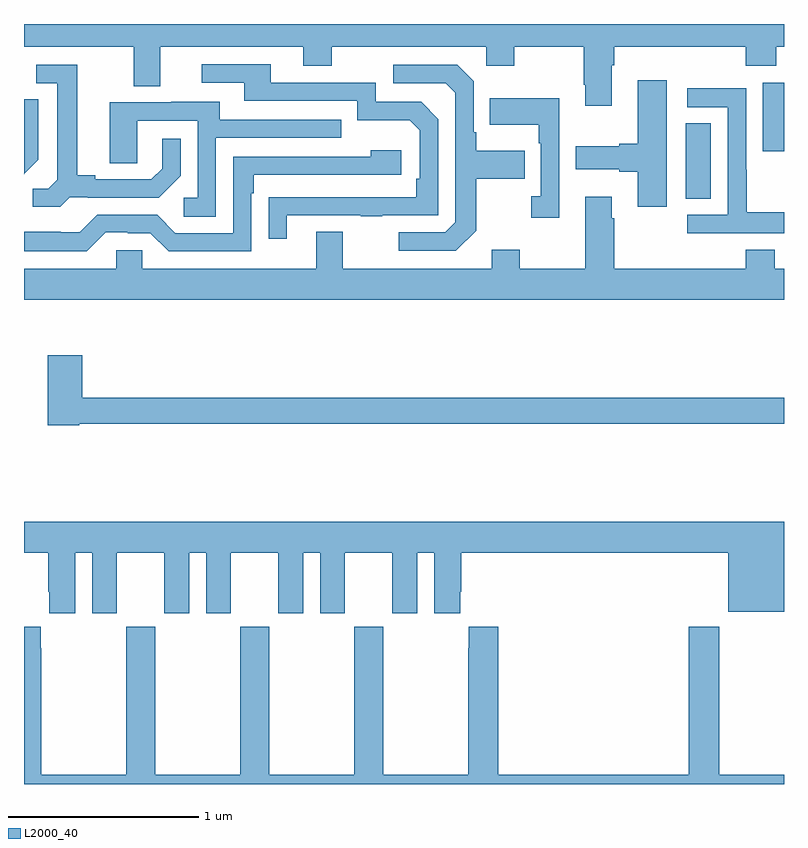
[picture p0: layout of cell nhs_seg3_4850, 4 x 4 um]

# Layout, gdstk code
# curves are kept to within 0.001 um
import gdstk
lib = gdstk.Library(unit=1e-6, precision=1e-09)
def R(c, l, rs):  # rectangles x0, y0, x1, y1
    for r in rs: c.add(gdstk.rectangle(r[:2], r[2:], *l))
def P(c, l, *ps):  # polygons
    for p in ps: c.add(gdstk.Polygon(p, *l))
L2000_40 = (2000, 40)

nhs_seg3_4850 = lib.new_cell('nhs_seg3_4850')
R(nhs_seg3_4850, L2000_40, [(376.484,669.481,376.615,669.878), (376.889,669.729,377,670.09)])
P(nhs_seg3_4850, L2000_40, [(376.093,670.184),(376.106,670.184),(376.106,670.28),(376.799,670.28),(376.799,670.181),(376.959,670.181),(376.959,670.28),(377,670.28),(377,670.4),(373,670.4),(373,670.28),(373.577,670.28),(373.577,670.072),(373.717,670.072),(373.717,670.28),(374.471,670.28),(374.471,670.181),(374.619,670.181),(374.619,670.28),(375.432,670.28),(375.432,670.181),(375.579,670.181),(375.579,670.28),(375.946,670.28),(375.946,670.081),(375.953,670.081),(375.953,669.969),(376.093,669.969)],
  [(374.383,669.393),(374.773,669.393),(374.773,669.388),(374.885,669.388),(374.885,669.393),(375.18,669.393),(375.18,669.9),(375.09,669.99),(374.85,669.99),(374.85,670.092),(374.299,670.092),(374.299,670.188),(373.935,670.188),(373.935,670.092),(374.159,670.092),(374.159,669.996),(374.754,669.996),(374.754,669.893),(375.031,669.893),(375.084,669.84),(375.084,669.586),(375.064,669.586),(375.064,669.489),(374.287,669.488),(374.287,669.27),(374.383,669.27)],
  [(373.242,669.489),(373.336,669.489),(373.336,669.486),(373.708,669.486),(373.824,669.602),(373.824,669.796),(373.727,669.796),(373.727,669.639),(373.67,669.582),(373.375,669.582),(373.375,669.605),(373.279,669.605),(373.279,670.185),(373.065,670.185),(373.065,670.089),(373.175,670.089),(373.175,669.581),(373.128,669.534),(373.047,669.534),(373.047,669.437),(373.19,669.437)],
  [(375.379,669.313),(375.379,669.586),(375.635,669.586),(375.635,669.733),(375.379,669.733),(375.379,669.829),(375.366,669.829),(375.366,670.098),(375.279,670.185),(374.943,670.185),(374.943,670.089),(375.219,670.089),(375.27,670.038),(375.27,669.357),(375.216,669.303),(374.973,669.303),(374.973,669.207),(375.273,669.207)],
  [(376.384,670.105),(376.229,670.105),(376.229,669.77),(376.133,669.77),(376.133,669.757),(375.903,669.757),(375.903,669.635),(376.133,669.635),(376.133,669.623),(376.229,669.623),(376.229,669.438),(376.384,669.438)],
  [(377,669.409),(376.803,669.409),(376.803,669.632),(376.8,669.632),(376.8,670.062),(376.491,670.062),(376.491,669.963),(376.704,669.963),(376.704,669.396),(376.491,669.396),(376.491,669.3),(377,669.3)],
  [(375.816,670.009),(375.451,670.009),(375.451,669.869),(375.708,669.869),(375.708,669.773),(375.72,669.773),(375.72,669.494),(375.669,669.494),(375.669,669.381),(375.816,669.381)],
  [(373.002,669.612),(373.001,669.613),(373.074,669.686),(373.074,670.004),(373,670.004),(373,669.61)],
  [(374.01,669.801),(374.669,669.801),(374.669,669.897),(374.029,669.897),(374.029,669.991),(373.775,669.991),(373.775,669.987),(373.451,669.987),(373.451,669.667),(373.596,669.667),(373.596,669.891),(373.914,669.891),(373.914,669.486),(373.842,669.486),(373.842,669.385),(374.01,669.385)],
  [(373.431,669.303),(373.547,669.303),(373.547,669.3),(373.665,669.3),(373.761,669.204),(374.196,669.204),(374.196,669.509),(374.209,669.509),(374.209,669.606),(374.986,669.606),(374.986,669.736),(374.825,669.736),(374.825,669.702),(374.1,669.702),(374.1,669.3),(373.797,669.3),(373.701,669.396),(373.386,669.396),(373.293,669.303),(373.193,669.303),(373.193,669.307),(373,669.307),(373,669.203),(373.331,669.203)],
  [(377,669.112),(376.951,669.112),(376.951,669.211),(376.799,669.211),(376.799,669.112),(376.106,669.112),(376.106,669.377),(376.093,669.377),(376.093,669.49),(375.953,669.49),(375.953,669.112),(375.609,669.112),(375.609,669.211),(375.461,669.211),(375.461,669.112),(374.677,669.112),(374.677,669.307),(374.537,669.307),(374.537,669.112),(373.623,669.112),(373.623,669.21),(373.485,669.21),(373.485,669.112),(373,669.112),(373,668.948),(377,668.948)],
  [(373.29,668.296),(377,668.296),(377,668.432),(373.307,668.432),(373.307,668.656),(373.124,668.656),(373.124,668.288),(373.29,668.288)],
  [(373.27,667.616),(373.358,667.616),(373.358,667.299),(373.489,667.299),(373.489,667.616),(373.739,667.616),(373.739,667.299),(373.87,667.299),(373.87,667.616),(373.958,667.616),(373.958,667.299),(374.089,667.299),(374.089,667.616),(374.339,667.616),(374.339,667.299),(374.47,667.299),(374.47,667.616),(374.558,667.616),(374.558,667.299),(374.689,667.299),(374.689,667.616),(374.939,667.616),(374.939,667.299),(375.07,667.299),(375.07,667.616),(375.158,667.616),(375.158,667.299),(375.295,667.299),(375.295,667.411),(375.302,667.411),(375.302,667.616),(376.706,667.616),(376.706,667.307),(377,667.307),(377,667.78),(373,667.78),(373,667.616),(373.127,667.616),(373.127,667.411),(373.133,667.411),(373.133,667.299),(373.27,667.299)],
  [(373,667.228),(373,666.4),(377,666.4),(377,666.448),(376.659,666.448),(376.659,667.228),(376.499,667.228),(376.499,666.448),(375.497,666.448),(375.497,667.228),(375.341,667.228),(375.341,667.115),(375.337,667.115),(375.337,666.448),(374.892,666.448),(374.892,667.228),(374.737,667.228),(374.737,666.448),(374.292,666.448),(374.292,667.228),(374.137,667.228),(374.137,666.448),(373.692,666.448),(373.692,667.228),(373.537,667.228),(373.537,666.448),(373.092,666.448),(373.092,667.115),(373.087,667.115),(373.087,667.228)])

lib.write_gds('nhs_seg3_4850.gds')
